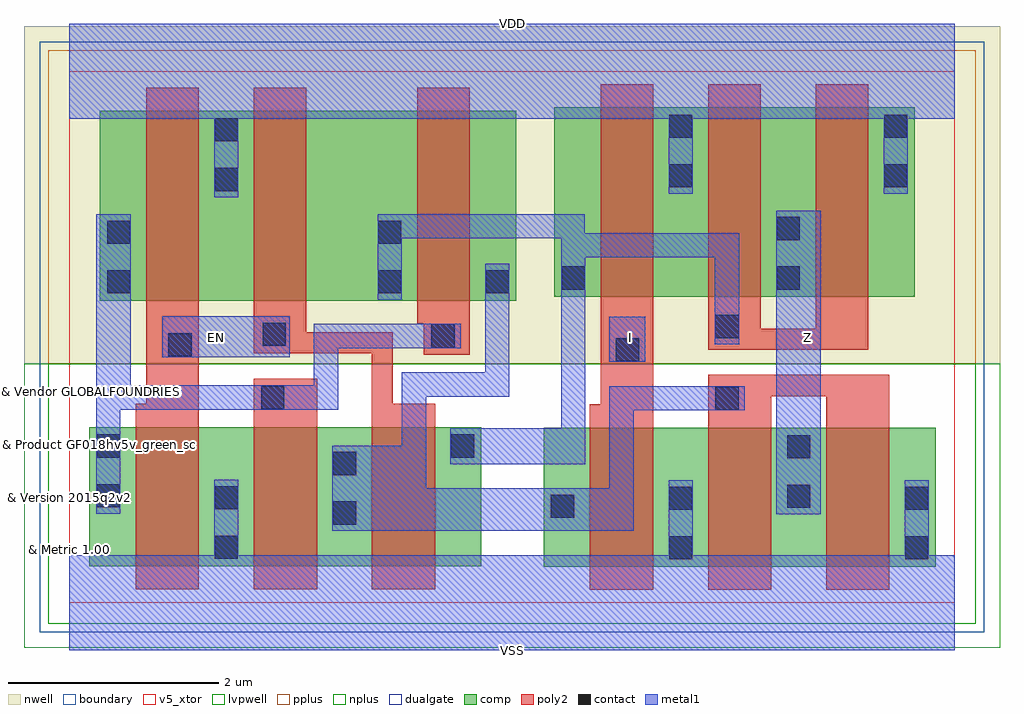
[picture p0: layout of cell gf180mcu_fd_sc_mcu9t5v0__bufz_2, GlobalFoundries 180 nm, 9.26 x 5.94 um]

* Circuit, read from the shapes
.subckt gf180mcu_fd_sc_mcu9t5v0__bufz_2 EN I VDD VSS Z
XM1 VSS EN n1 VSUBS nfet_05v0 w=1.32u l=0.6u
XM2 n2 n1 VSS VSUBS nfet_05v0 w=1.32u l=0.6u
XM3 n3 EN n2 VSUBS nfet_05v0 w=1.32u l=0.6u
XM4 VSS I n2 VSUBS nfet_05v0 w=1.32u l=0.6u
XM5 Z n2 VSS VSUBS nfet_05v0 w=1.32u l=0.6u m=2
XM6 VDD EN n1 n4 pfet_05v0 w=1.8u l=0.5u
XM7 n3 EN VDD n4 pfet_05v0 w=1.8u l=0.5u
XM8 n2 n1 n3 n4 pfet_05v0 w=1.8u l=0.5u
XM9 VDD I n3 n4 pfet_05v0 w=1.8u l=0.5u
XM10 Z n3 VDD n4 pfet_05v0 w=1.8u l=0.5u m=2
.ends

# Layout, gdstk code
import gdstk
lib = gdstk.Library(unit=1e-6, precision=1e-09)
def R(c, l, rs):  # rectangles x0, y0, x1, y1
    for r in rs: c.add(gdstk.rectangle(r[:2], r[2:], *l))
def P(c, l, *ps):  # polygons
    for p in ps: c.add(gdstk.Polygon(p, *l))
boundary = (0, 0)
nwell = (21, 0)
comp = (22, 0)
poly2 = (30, 0)
pplus = (31, 0)
nplus = (32, 0)
contact = (33, 0)
metal1 = (34, 0)
dualgate = (55, 0)
v5_xtor = (112, 1)
lvpwell = (204, 0)

gf180mcu_fd_sc_mcu9t5v0_ = lib.new_cell('gf180mcu_fd_sc_mcu9t5v0__bufz_2')
R(gf180mcu_fd_sc_mcu9t5v0_, boundary, [(0,0,8.4,5.04)])
R(gf180mcu_fd_sc_mcu9t5v0_, nwell, [(-0.43,2.265,8.83,5.47)])
R(gf180mcu_fd_sc_mcu9t5v0_, comp, [(4.5,0.34,8.22,1.66), (0.19,0.345,3.91,1.665), (0.29,2.865,4.24,4.665), (4.6,2.9,8.02,4.7)])
R(gf180mcu_fd_sc_mcu9t5v0_, poly2, [(1.75,0.125,2.35,2.125)])
P(gf180mcu_fd_sc_mcu9t5v0_, poly2, [(0.63,0.125),(0.63,1.885),(0.73,1.885),(0.73,4.885),(1.23,4.885),(1.23,0.125)],
  [(2.87,0.125),(2.87,2.365),(1.75,2.365),(1.75,4.885),(2.25,4.885),(2.25,2.565),(3.07,2.565),(3.07,1.885),(3.47,1.885),(3.47,0.125)],
  [(3.365,2.35),(3.365,2.645),(3.3,2.645),(3.3,4.885),(3.8,4.885),(3.8,2.35)],
  [(4.94,0.12),(4.94,1.88),(5.04,1.88),(5.04,4.92),(5.54,4.92),(5.54,0.12)],
  [(6.06,2.4),(6.06,4.92),(6.56,4.92),(6.56,2.6),(7.08,2.6),(7.08,4.92),(7.58,4.92),(7.58,2.4)],
  [(6.06,0.12),(6.06,2.16),(7.78,2.16),(7.78,0.12),(7.18,0.12),(7.18,1.96),(6.66,1.96),(6.66,0.12)])
R(gf180mcu_fd_sc_mcu9t5v0_, pplus, [(-0.2,2.265,8.6,5.24)])
R(gf180mcu_fd_sc_mcu9t5v0_, nplus, [(-0.2,-0.2,8.6,2.265)])
R(gf180mcu_fd_sc_mcu9t5v0_, contact, [(5.69,0.41,5.91,0.63), (7.93,0.41,8.15,0.63), (1.38,0.415,1.6,0.635), (2.5,0.74,2.72,0.96), (4.57,0.805,4.79,1.025), (5.69,0.88,5.91,1.1), (7.93,0.88,8.15,1.1), (1.38,0.885,1.6,1.105), (6.81,0.9,7.03,1.12), (0.26,0.905,0.48,1.125), (2.5,1.21,2.72,1.43), (6.81,1.37,7.03,1.59), (0.26,1.375,0.48,1.595), (3.62,1.375,3.84,1.595), (6.13,1.83,6.35,2.05), (1.82,1.835,2.04,2.055), (5.185,2.29,5.405,2.51), (0.94,2.335,1.16,2.555), (3.435,2.42,3.655,2.64), (1.835,2.435,2.055,2.655), (6.13,2.51,6.35,2.73), (0.36,2.935,0.58,3.155), (2.93,2.935,3.15,3.155), (3.95,2.935,4.17,3.155), (4.67,2.97,4.89,3.19), (6.71,2.97,6.93,3.19), (0.36,3.405,0.58,3.625), (2.93,3.405,3.15,3.625), (6.71,3.44,6.93,3.66), (1.38,3.905,1.6,4.125), (5.69,3.94,5.91,4.16), (7.73,3.94,7.95,4.16), (1.38,4.375,1.6,4.595), (5.69,4.41,5.91,4.63), (7.73,4.41,7.95,4.63)])
R(gf180mcu_fd_sc_mcu9t5v0_, metal1, [(6.705,0.84,7.13,3.72), (5.125,2.285,5.465,2.71), (0.88,2.33,2.09,2.715)])
P(gf180mcu_fd_sc_mcu9t5v0_, metal1, [(0.255,0.845),(0.255,3.685),(0.585,3.685),(0.585,2.06),(2.32,2.06),(2.32,2.645),(3.715,2.645),(3.715,2.415),(2.55,2.415),(2.55,1.83),(0.485,1.83),(0.485,0.845)],
  [(3.615,1.315),(3.615,1.655),(4.665,1.655),(4.665,3.455),(3.155,3.455),(3.155,2.875),(2.925,2.875),(2.925,3.685),(4.89,3.685),(4.89,3.505),(6.355,3.505),(6.355,2.45),(6.125,2.45),(6.125,3.275),(4.895,3.275),(4.895,1.315)],
  [(2.495,0.68),(2.495,1.49),(3.155,1.49),(3.155,2.185),(3.945,2.185),(3.945,3.215),(4.175,3.215),(4.175,1.955),(3.385,1.955),(3.385,1.085),(5.125,1.085),(5.125,2.055),(6.41,2.055),(6.41,1.825),(5.355,1.825),(5.355,0.68)],
  [(0,-0.45),(0,0.45),(1.375,0.45),(1.375,1.165),(1.605,1.165),(1.605,0.45),(5.685,0.45),(5.685,1.16),(5.915,1.16),(5.915,0.45),(7.925,0.45),(7.925,1.16),(8.155,1.16),(8.155,0.45),(8.4,0.45),(8.4,-0.45)],
  [(1.375,3.845),(1.375,4.59),(0,4.59),(0,5.49),(8.4,5.49),(8.4,4.59),(7.955,4.59),(7.955,3.88),(7.725,3.88),(7.725,4.59),(5.915,4.59),(5.915,3.88),(5.685,3.88),(5.685,4.59),(1.605,4.59),(1.605,3.845)])
R(gf180mcu_fd_sc_mcu9t5v0_, dualgate, [(-0.28,-0.28,8.68,5.32)])
R(gf180mcu_fd_sc_mcu9t5v0_, v5_xtor, [(0,0,8.4,5.04)])
R(gf180mcu_fd_sc_mcu9t5v0_, lvpwell, [(-0.43,-0.43,8.83,2.265)])
gf180mcu_fd_sc_mcu9t5v0_.add(gdstk.Label('EN', (1.4,2.52), layer=34, texttype=10))
gf180mcu_fd_sc_mcu9t5v0_.add(gdstk.Label('I', (5.32,2.52), layer=34, texttype=10))
gf180mcu_fd_sc_mcu9t5v0_.add(gdstk.Label('VDD', (4.2,5.49), layer=34, texttype=10))
gf180mcu_fd_sc_mcu9t5v0_.add(gdstk.Label('VSS', (4.2,-0.45), layer=34, texttype=10))
gf180mcu_fd_sc_mcu9t5v0_.add(gdstk.Label('Z', (7,2.52), layer=34, texttype=10))
gf180mcu_fd_sc_mcu9t5v0_.add(gdstk.Label('& Vendor GLOBALFOUNDRIES', (0,2), layer=63, texttype=63))
gf180mcu_fd_sc_mcu9t5v0_.add(gdstk.Label('& Product GF018hv5v_green_sc9', (0,1.5), layer=63, texttype=63))
gf180mcu_fd_sc_mcu9t5v0_.add(gdstk.Label('& Version 2015q2v2', (0,1), layer=63, texttype=63))
gf180mcu_fd_sc_mcu9t5v0_.add(gdstk.Label('& Metric 1.00', (0,0.5), layer=63, texttype=63))

lib.write_gds('gf180mcu_fd_sc_mcu9t5v0__bufz_2.gds')
